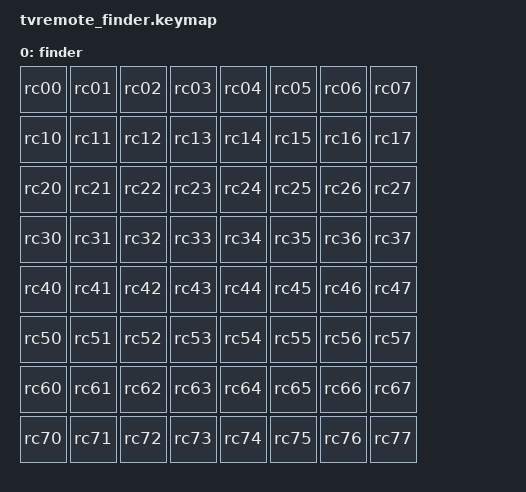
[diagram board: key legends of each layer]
/*
 * Matrix finder: each button types its row and column ("r3c5 "), so the real
 * keymap can be laid out. Plug in over USB, open Notepad, press every button.
 */

#include <behaviors.dtsi>
#include <behaviors/ir.dtsi>
#include <dt-bindings/zmk/keys.h>

/ {
    macros {
        rc00: rc00 {
            compatible = "zmk,behavior-macro";
            #binding-cells = <0>;
            wait-ms = <5>;
            tap-ms = <5>;
            bindings = <&kp R &kp N0 &kp C &kp N0 &kp SPACE>;
        };
        rc01: rc01 {
            compatible = "zmk,behavior-macro";
            #binding-cells = <0>;
            wait-ms = <5>;
            tap-ms = <5>;
            bindings = <&kp R &kp N0 &kp C &kp N1 &kp SPACE>;
        };
        rc02: rc02 {
            compatible = "zmk,behavior-macro";
            #binding-cells = <0>;
            wait-ms = <5>;
            tap-ms = <5>;
            bindings = <&kp R &kp N0 &kp C &kp N2 &kp SPACE>;
        };
        rc03: rc03 {
            compatible = "zmk,behavior-macro";
            #binding-cells = <0>;
            wait-ms = <5>;
            tap-ms = <5>;
            bindings = <&kp R &kp N0 &kp C &kp N3 &kp SPACE>;
        };
        rc04: rc04 {
            compatible = "zmk,behavior-macro";
            #binding-cells = <0>;
            wait-ms = <5>;
            tap-ms = <5>;
            bindings = <&kp R &kp N0 &kp C &kp N4 &kp SPACE>;
        };
        rc05: rc05 {
            compatible = "zmk,behavior-macro";
            #binding-cells = <0>;
            wait-ms = <5>;
            tap-ms = <5>;
            bindings = <&kp R &kp N0 &kp C &kp N5 &kp SPACE>;
        };
        rc06: rc06 {
            compatible = "zmk,behavior-macro";
            #binding-cells = <0>;
            wait-ms = <5>;
            tap-ms = <5>;
            bindings = <&kp R &kp N0 &kp C &kp N6 &kp SPACE>;
        };
        rc07: rc07 {
            compatible = "zmk,behavior-macro";
            #binding-cells = <0>;
            wait-ms = <5>;
            tap-ms = <5>;
            bindings = <&kp R &kp N0 &kp C &kp N7 &kp SPACE>;
        };
        rc10: rc10 {
            compatible = "zmk,behavior-macro";
            #binding-cells = <0>;
            wait-ms = <5>;
            tap-ms = <5>;
            bindings = <&kp R &kp N1 &kp C &kp N0 &kp SPACE>;
        };
        rc11: rc11 {
            compatible = "zmk,behavior-macro";
            #binding-cells = <0>;
            wait-ms = <5>;
            tap-ms = <5>;
            bindings = <&kp R &kp N1 &kp C &kp N1 &kp SPACE>;
        };
        rc12: rc12 {
            compatible = "zmk,behavior-macro";
            #binding-cells = <0>;
            wait-ms = <5>;
            tap-ms = <5>;
            bindings = <&kp R &kp N1 &kp C &kp N2 &kp SPACE>;
        };
        rc13: rc13 {
            compatible = "zmk,behavior-macro";
            #binding-cells = <0>;
            wait-ms = <5>;
            tap-ms = <5>;
            bindings = <&kp R &kp N1 &kp C &kp N3 &kp SPACE>;
        };
        rc14: rc14 {
            compatible = "zmk,behavior-macro";
            #binding-cells = <0>;
            wait-ms = <5>;
            tap-ms = <5>;
            bindings = <&kp R &kp N1 &kp C &kp N4 &kp SPACE>;
        };
        rc15: rc15 {
            compatible = "zmk,behavior-macro";
            #binding-cells = <0>;
            wait-ms = <5>;
            tap-ms = <5>;
            bindings = <&kp R &kp N1 &kp C &kp N5 &kp SPACE>;
        };
        rc16: rc16 {
            compatible = "zmk,behavior-macro";
            #binding-cells = <0>;
            wait-ms = <5>;
            tap-ms = <5>;
            bindings = <&kp R &kp N1 &kp C &kp N6 &kp SPACE>;
        };
        rc17: rc17 {
            compatible = "zmk,behavior-macro";
            #binding-cells = <0>;
            wait-ms = <5>;
            tap-ms = <5>;
            bindings = <&kp R &kp N1 &kp C &kp N7 &kp SPACE>;
        };
        rc20: rc20 {
            compatible = "zmk,behavior-macro";
            #binding-cells = <0>;
            wait-ms = <5>;
            tap-ms = <5>;
            bindings = <&kp R &kp N2 &kp C &kp N0 &kp SPACE>;
        };
        rc21: rc21 {
            compatible = "zmk,behavior-macro";
            #binding-cells = <0>;
            wait-ms = <5>;
            tap-ms = <5>;
            bindings = <&kp R &kp N2 &kp C &kp N1 &kp SPACE>;
        };
        rc22: rc22 {
            compatible = "zmk,behavior-macro";
            #binding-cells = <0>;
            wait-ms = <5>;
            tap-ms = <5>;
            bindings = <&kp R &kp N2 &kp C &kp N2 &kp SPACE>;
        };
        rc23: rc23 {
            compatible = "zmk,behavior-macro";
            #binding-cells = <0>;
            wait-ms = <5>;
            tap-ms = <5>;
            bindings = <&kp R &kp N2 &kp C &kp N3 &kp SPACE>;
        };
        rc24: rc24 {
            compatible = "zmk,behavior-macro";
            #binding-cells = <0>;
            wait-ms = <5>;
            tap-ms = <5>;
            bindings = <&kp R &kp N2 &kp C &kp N4 &kp SPACE>;
        };
        rc25: rc25 {
            compatible = "zmk,behavior-macro";
            #binding-cells = <0>;
            wait-ms = <5>;
            tap-ms = <5>;
            bindings = <&kp R &kp N2 &kp C &kp N5 &kp SPACE>;
        };
        rc26: rc26 {
            compatible = "zmk,behavior-macro";
            #binding-cells = <0>;
            wait-ms = <5>;
            tap-ms = <5>;
            bindings = <&kp R &kp N2 &kp C &kp N6 &kp SPACE>;
        };
        rc27: rc27 {
            compatible = "zmk,behavior-macro";
            #binding-cells = <0>;
            wait-ms = <5>;
            tap-ms = <5>;
            bindings = <&kp R &kp N2 &kp C &kp N7 &kp SPACE>;
        };
        rc30: rc30 {
            compatible = "zmk,behavior-macro";
            #binding-cells = <0>;
            wait-ms = <5>;
            tap-ms = <5>;
            bindings = <&kp R &kp N3 &kp C &kp N0 &kp SPACE>;
        };
        rc31: rc31 {
            compatible = "zmk,behavior-macro";
            #binding-cells = <0>;
            wait-ms = <5>;
            tap-ms = <5>;
            bindings = <&kp R &kp N3 &kp C &kp N1 &kp SPACE>;
        };
        rc32: rc32 {
            compatible = "zmk,behavior-macro";
            #binding-cells = <0>;
            wait-ms = <5>;
            tap-ms = <5>;
            bindings = <&kp R &kp N3 &kp C &kp N2 &kp SPACE>;
        };
        rc33: rc33 {
            compatible = "zmk,behavior-macro";
            #binding-cells = <0>;
            wait-ms = <5>;
            tap-ms = <5>;
            bindings = <&kp R &kp N3 &kp C &kp N3 &kp SPACE>;
        };
        rc34: rc34 {
            compatible = "zmk,behavior-macro";
            #binding-cells = <0>;
            wait-ms = <5>;
            tap-ms = <5>;
            bindings = <&kp R &kp N3 &kp C &kp N4 &kp SPACE>;
        };
        rc35: rc35 {
            compatible = "zmk,behavior-macro";
            #binding-cells = <0>;
            wait-ms = <5>;
            tap-ms = <5>;
            bindings = <&kp R &kp N3 &kp C &kp N5 &kp SPACE>;
        };
        rc36: rc36 {
            compatible = "zmk,behavior-macro";
            #binding-cells = <0>;
            wait-ms = <5>;
            tap-ms = <5>;
            bindings = <&kp R &kp N3 &kp C &kp N6 &kp SPACE>;
        };
        rc37: rc37 {
            compatible = "zmk,behavior-macro";
            #binding-cells = <0>;
            wait-ms = <5>;
            tap-ms = <5>;
            bindings = <&kp R &kp N3 &kp C &kp N7 &kp SPACE>;
        };
        rc40: rc40 {
            compatible = "zmk,behavior-macro";
            #binding-cells = <0>;
            wait-ms = <5>;
            tap-ms = <5>;
            bindings = <&kp R &kp N4 &kp C &kp N0 &kp SPACE>;
        };
        rc41: rc41 {
            compatible = "zmk,behavior-macro";
            #binding-cells = <0>;
            wait-ms = <5>;
            tap-ms = <5>;
            bindings = <&kp R &kp N4 &kp C &kp N1 &kp SPACE>;
        };
        rc42: rc42 {
            compatible = "zmk,behavior-macro";
            #binding-cells = <0>;
            wait-ms = <5>;
            tap-ms = <5>;
            bindings = <&kp R &kp N4 &kp C &kp N2 &kp SPACE>;
        };
        rc43: rc43 {
            compatible = "zmk,behavior-macro";
            #binding-cells = <0>;
            wait-ms = <5>;
            tap-ms = <5>;
            bindings = <&kp R &kp N4 &kp C &kp N3 &kp SPACE>;
        };
        rc44: rc44 {
            compatible = "zmk,behavior-macro";
            #binding-cells = <0>;
            wait-ms = <5>;
            tap-ms = <5>;
            bindings = <&kp R &kp N4 &kp C &kp N4 &kp SPACE>;
        };
        rc45: rc45 {
            compatible = "zmk,behavior-macro";
            #binding-cells = <0>;
            wait-ms = <5>;
            tap-ms = <5>;
            bindings = <&kp R &kp N4 &kp C &kp N5 &kp SPACE>;
        };
        rc46: rc46 {
            compatible = "zmk,behavior-macro";
            #binding-cells = <0>;
            wait-ms = <5>;
            tap-ms = <5>;
            bindings = <&kp R &kp N4 &kp C &kp N6 &kp SPACE>;
        };
        rc47: rc47 {
            compatible = "zmk,behavior-macro";
            #binding-cells = <0>;
            wait-ms = <5>;
            tap-ms = <5>;
            bindings = <&kp R &kp N4 &kp C &kp N7 &kp SPACE>;
        };
        rc50: rc50 {
            compatible = "zmk,behavior-macro";
            #binding-cells = <0>;
            wait-ms = <5>;
            tap-ms = <5>;
            bindings = <&kp R &kp N5 &kp C &kp N0 &kp SPACE>;
        };
        rc51: rc51 {
            compatible = "zmk,behavior-macro";
            #binding-cells = <0>;
            wait-ms = <5>;
            tap-ms = <5>;
            bindings = <&kp R &kp N5 &kp C &kp N1 &kp SPACE>;
        };
        rc52: rc52 {
            compatible = "zmk,behavior-macro";
            #binding-cells = <0>;
            wait-ms = <5>;
            tap-ms = <5>;
            bindings = <&kp R &kp N5 &kp C &kp N2 &kp SPACE>;
        };
        rc53: rc53 {
            compatible = "zmk,behavior-macro";
            #binding-cells = <0>;
            wait-ms = <5>;
            tap-ms = <5>;
            bindings = <&kp R &kp N5 &kp C &kp N3 &kp SPACE>;
        };
        rc54: rc54 {
            compatible = "zmk,behavior-macro";
            #binding-cells = <0>;
            wait-ms = <5>;
            tap-ms = <5>;
            bindings = <&kp R &kp N5 &kp C &kp N4 &kp SPACE>;
        };
        rc55: rc55 {
            compatible = "zmk,behavior-macro";
            #binding-cells = <0>;
            wait-ms = <5>;
            tap-ms = <5>;
            bindings = <&kp R &kp N5 &kp C &kp N5 &kp SPACE>;
        };
        rc56: rc56 {
            compatible = "zmk,behavior-macro";
            #binding-cells = <0>;
            wait-ms = <5>;
            tap-ms = <5>;
            bindings = <&kp R &kp N5 &kp C &kp N6 &kp SPACE>;
        };
        rc57: rc57 {
            compatible = "zmk,behavior-macro";
            #binding-cells = <0>;
            wait-ms = <5>;
            tap-ms = <5>;
            bindings = <&kp R &kp N5 &kp C &kp N7 &kp SPACE>;
        };
        rc60: rc60 {
            compatible = "zmk,behavior-macro";
            #binding-cells = <0>;
            wait-ms = <5>;
            tap-ms = <5>;
            bindings = <&kp R &kp N6 &kp C &kp N0 &kp SPACE>;
        };
        rc61: rc61 {
            compatible = "zmk,behavior-macro";
            #binding-cells = <0>;
            wait-ms = <5>;
            tap-ms = <5>;
            bindings = <&kp R &kp N6 &kp C &kp N1 &kp SPACE>;
        };
        rc62: rc62 {
            compatible = "zmk,behavior-macro";
            #binding-cells = <0>;
            wait-ms = <5>;
            tap-ms = <5>;
            bindings = <&kp R &kp N6 &kp C &kp N2 &kp SPACE>;
        };
        rc63: rc63 {
            compatible = "zmk,behavior-macro";
            #binding-cells = <0>;
            wait-ms = <5>;
            tap-ms = <5>;
            bindings = <&kp R &kp N6 &kp C &kp N3 &kp SPACE>;
        };
        rc64: rc64 {
            compatible = "zmk,behavior-macro";
            #binding-cells = <0>;
            wait-ms = <5>;
            tap-ms = <5>;
            bindings = <&kp R &kp N6 &kp C &kp N4 &kp SPACE>;
        };
        rc65: rc65 {
            compatible = "zmk,behavior-macro";
            #binding-cells = <0>;
            wait-ms = <5>;
            tap-ms = <5>;
            bindings = <&kp R &kp N6 &kp C &kp N5 &kp SPACE>;
        };
        rc66: rc66 {
            compatible = "zmk,behavior-macro";
            #binding-cells = <0>;
            wait-ms = <5>;
            tap-ms = <5>;
            bindings = <&kp R &kp N6 &kp C &kp N6 &kp SPACE>;
        };
        rc67: rc67 {
            compatible = "zmk,behavior-macro";
            #binding-cells = <0>;
            wait-ms = <5>;
            tap-ms = <5>;
            bindings = <&kp R &kp N6 &kp C &kp N7 &kp SPACE>;
        };
        rc70: rc70 {
            compatible = "zmk,behavior-macro";
            #binding-cells = <0>;
            wait-ms = <5>;
            tap-ms = <5>;
            bindings = <&kp R &kp N7 &kp C &kp N0 &kp SPACE>;
        };
        rc71: rc71 {
            compatible = "zmk,behavior-macro";
            #binding-cells = <0>;
            wait-ms = <5>;
            tap-ms = <5>;
            bindings = <&kp R &kp N7 &kp C &kp N1 &kp SPACE>;
        };
        rc72: rc72 {
            compatible = "zmk,behavior-macro";
            #binding-cells = <0>;
            wait-ms = <5>;
            tap-ms = <5>;
            bindings = <&kp R &kp N7 &kp C &kp N2 &kp SPACE>;
        };
        rc73: rc73 {
            compatible = "zmk,behavior-macro";
            #binding-cells = <0>;
            wait-ms = <5>;
            tap-ms = <5>;
            bindings = <&kp R &kp N7 &kp C &kp N3 &kp SPACE>;
        };
        rc74: rc74 {
            compatible = "zmk,behavior-macro";
            #binding-cells = <0>;
            wait-ms = <5>;
            tap-ms = <5>;
            bindings = <&kp R &kp N7 &kp C &kp N4 &kp SPACE>;
        };
        rc75: rc75 {
            compatible = "zmk,behavior-macro";
            #binding-cells = <0>;
            wait-ms = <5>;
            tap-ms = <5>;
            bindings = <&kp R &kp N7 &kp C &kp N5 &kp SPACE>;
        };
        rc76: rc76 {
            compatible = "zmk,behavior-macro";
            #binding-cells = <0>;
            wait-ms = <5>;
            tap-ms = <5>;
            bindings = <&kp R &kp N7 &kp C &kp N6 &kp SPACE>;
        };
        rc77: rc77 {
            compatible = "zmk,behavior-macro";
            #binding-cells = <0>;
            wait-ms = <5>;
            tap-ms = <5>;
            bindings = <&kp R &kp N7 &kp C &kp N7 &kp SPACE>;
        };
    };

    keymap {
        compatible = "zmk,keymap";

        finder {
            bindings = <
                &rc00 &rc01 &rc02 &rc03 &rc04 &rc05 &rc06 &rc07
                &rc10 &rc11 &rc12 &rc13 &rc14 &rc15 &rc16 &rc17
                &rc20 &rc21 &rc22 &rc23 &rc24 &rc25 &rc26 &rc27
                &rc30 &rc31 &rc32 &rc33 &rc34 &rc35 &rc36 &rc37
                &rc40 &rc41 &rc42 &rc43 &rc44 &rc45 &rc46 &rc47
                &rc50 &rc51 &rc52 &rc53 &rc54 &rc55 &rc56 &rc57
                &rc60 &rc61 &rc62 &rc63 &rc64 &rc65 &rc66 &rc67
                &rc70 &rc71 &rc72 &rc73 &rc74 &rc75 &rc76 &rc77
            >;
        };
    };
};
